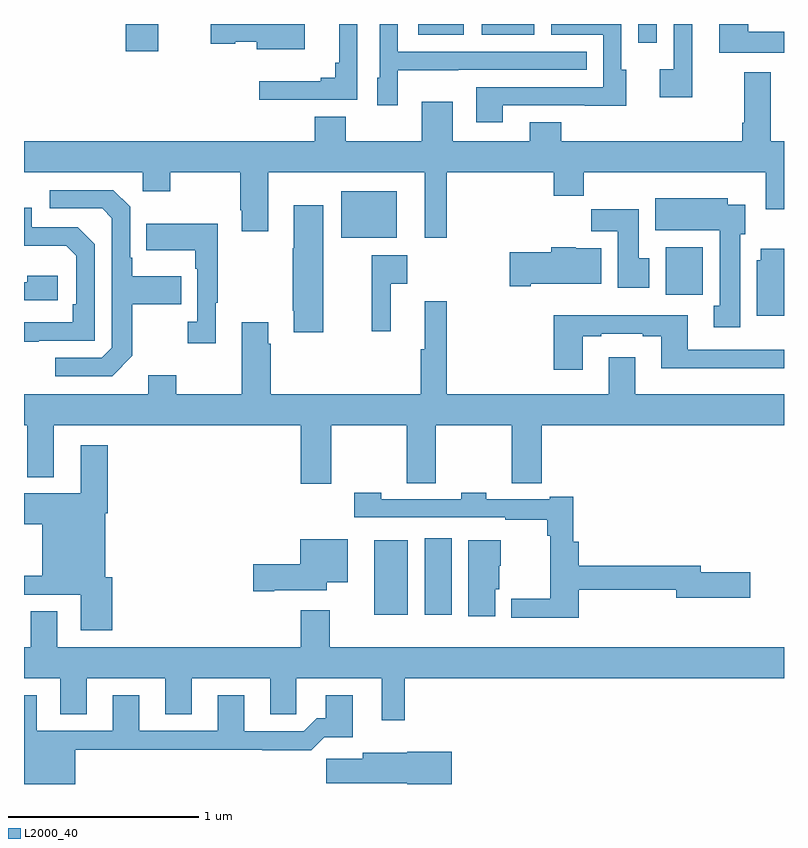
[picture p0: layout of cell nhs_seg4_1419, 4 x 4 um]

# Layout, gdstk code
import gdstk
lib = gdstk.Library(unit=1e-6, precision=1e-09)
def R(c, l, rs):  # rectangles x0, y0, x1, y1
    for r in rs: c.add(gdstk.rectangle(r[:2], r[2:], *l))
def P(c, l, *ps):  # polygons
    for p in ps: c.add(gdstk.Polygon(p, *l))
L2000_40 = (2000, 40)

nhs_seg4_1419 = lib.new_cell('nhs_seg4_1419')
R(nhs_seg4_1419, L2000_40, [(184.844,827.792,185.02,828.184), (185.108,827.792,185.251,828.193), (186.377,829.476,186.573,829.726), (184.67,829.775,184.963,830.02), (183.536,830.757,183.706,830.9), (186.234,830.802,186.33,830.9), (185.075,830.843,185.314,830.9), (185.408,830.843,185.686,830.9)])
P(nhs_seg4_1419, L2000_40, [(187,830.86),(186.811,830.86),(186.811,830.9),(186.659,830.9),(186.659,830.75),(187,830.75)],
  [(184.755,830.9),(184.658,830.9),(184.658,830.695),(184.639,830.695),(184.639,830.618),(184.562,830.618),(184.562,830.599),(184.239,830.599),(184.239,830.502),(184.755,830.502)],
  [(185.521,830.472),(185.951,830.472),(185.951,830.471),(186.169,830.471),(186.169,830.658),(186.144,830.658),(186.144,830.9),(185.775,830.9),(185.775,830.844),(186.048,830.844),(186.048,830.568),(185.381,830.568),(185.381,830.382),(185.521,830.382)],
  [(184.968,830.657),(185.285,830.657),(185.285,830.658),(185.963,830.658),(185.963,830.754),(184.968,830.754),(184.968,830.9),(184.872,830.9),(184.872,830.616),(184.859,830.616),(184.859,830.472),(184.968,830.472)],
  [(184.477,830.9),(183.984,830.9),(183.984,830.795),(184.113,830.795),(184.113,830.807),(184.226,830.807),(184.226,830.768),(184.477,830.768)],
  [(186.517,830.9),(186.42,830.9),(186.42,830.662),(186.345,830.662),(186.345,830.514),(186.517,830.514)],
  [(185.225,830.12),(185.789,830.12),(185.789,829.996),(185.945,829.996),(185.945,830.12),(186.905,830.12),(186.905,829.926),(187,829.926),(187,830.284),(186.931,830.284),(186.931,830.647),(186.791,830.647),(186.791,830.38),(186.779,830.38),(186.779,830.284),(185.827,830.284),(185.827,830.383),(185.663,830.383),(185.663,830.284),(185.257,830.284),(185.257,830.491),(185.093,830.491),(185.093,830.284),(184.693,830.284),(184.693,830.413),(184.529,830.413),(184.529,830.284),(183,830.284),(183,830.12),(183.624,830.12),(183.624,830.021),(183.771,830.021),(183.771,830.12),(184.138,830.12),(184.138,829.921),(184.145,829.921),(184.145,829.809),(184.285,829.809),(184.285,830.12),(185.108,830.12),(185.108,829.776),(185.225,829.776)],
  [(183.571,829.153),(183.571,829.426),(183.827,829.426),(183.827,829.573),(183.571,829.573),(183.571,829.669),(183.558,829.669),(183.558,829.938),(183.471,830.025),(183.135,830.025),(183.135,829.929),(183.411,829.929),(183.462,829.878),(183.462,829.197),(183.408,829.143),(183.165,829.143),(183.165,829.047),(183.465,829.047)],
  [(186.769,829.794),(186.796,829.794),(186.796,829.948),(186.703,829.948),(186.703,829.984),(186.323,829.984),(186.323,829.814),(186.662,829.814),(186.662,829.417),(186.629,829.417),(186.629,829.305),(186.769,829.305)],
  [(184.576,829.945),(184.421,829.945),(184.421,829.721),(184.414,829.721),(184.414,829.39),(184.421,829.39),(184.421,829.278),(184.576,829.278)],
  [(183.077,829.233),(183.372,829.233),(183.372,829.74),(183.282,829.83),(183.042,829.83),(183.042,829.932),(183,829.932),(183,829.733),(183.223,829.733),(183.276,829.68),(183.276,829.426),(183.256,829.426),(183.256,829.329),(183,829.329),(183,829.228),(183.077,829.228)],
  [(186.292,829.668),(186.235,829.668),(186.235,829.926),(185.986,829.926),(185.986,829.808),(186.125,829.808),(186.125,829.512),(186.292,829.512)],
  [(184.009,829.433),(184.021,829.433),(184.021,829.849),(183.643,829.849),(183.643,829.709),(183.9,829.709),(183.9,829.613),(183.912,829.613),(183.912,829.334),(183.861,829.334),(183.861,829.221),(184.009,829.221)],
  [(185.668,829.532),(186.037,829.532),(186.037,829.72),(185.904,829.72),(185.904,829.726),(185.774,829.726),(185.774,829.698),(185.556,829.698),(185.556,829.52),(185.668,829.52)],
  [(187,829.717),(186.878,829.717),(186.878,829.656),(186.857,829.656),(186.857,829.364),(187,829.364)],
  [(184.931,829.532),(185.017,829.532),(185.017,829.684),(184.831,829.684),(184.831,829.284),(184.931,829.284)],
  [(183.178,829.576),(183.017,829.576),(183.017,829.542),(183,829.542),(183,829.446),(183.178,829.446)],
  [(184.617,828.788),(185.014,828.788),(185.014,828.484),(185.168,828.484),(185.168,828.788),(185.566,828.788),(185.566,828.484),(185.726,828.484),(185.726,828.788),(187,828.788),(187,828.952),(186.217,828.952),(186.217,829.147),(186.077,829.147),(186.077,828.952),(185.225,828.952),(185.225,829.441),(185.108,829.441),(185.108,829.188),(185.089,829.188),(185.089,828.952),(184.298,828.952),(184.298,829.217),(184.285,829.217),(184.285,829.33),(184.145,829.33),(184.145,828.952),(183.801,828.952),(183.801,829.051),(183.653,829.051),(183.653,828.952),(183,828.952),(183,828.788),(183.017,828.788),(183.017,828.515),(183.157,828.515),(183.157,828.788),(184.457,828.788),(184.457,828.48),(184.617,828.48)],
  [(185.941,829.257),(186.037,829.257),(186.037,829.269),(186.257,829.269),(186.257,829.257),(186.353,829.257),(186.353,829.088),(187,829.088),(187,829.185),(186.493,829.185),(186.493,829.366),(185.789,829.366),(185.789,829.08),(185.941,829.08)],
  [(183.464,827.988),(183.427,827.988),(183.427,828.326),(183.44,828.326),(183.44,828.682),(183.299,828.682),(183.299,828.43),(183,828.43),(183,828.266),(183.095,828.266),(183.095,827.996),(183,827.996),(183,827.895),(183.299,827.895),(183.299,827.709),(183.464,827.709)],
  [(185.921,827.922),(186.434,827.922),(186.434,827.879),(186.823,827.879),(186.823,828.014),(186.562,828.014),(186.562,828.05),(185.921,828.05),(185.921,828.175),(185.891,828.175),(185.891,828.412),(185.768,828.412),(185.768,828.399),(185.433,828.399),(185.433,828.432),(185.301,828.432),(185.301,828.399),(184.881,828.399),(184.881,828.432),(184.737,828.432),(184.737,828.303),(185.533,828.303),(185.533,828.291),(185.755,828.291),(185.755,828.206),(185.77,828.206),(185.77,827.876),(185.565,827.876),(185.565,827.774),(185.921,827.774)],
  [(184.318,827.921),(184.594,827.921),(184.594,827.963),(184.705,827.963),(184.705,828.187),(184.454,828.187),(184.454,828.056),(184.206,828.056),(184.206,827.914),(184.318,827.914)],
  [(185.479,827.925),(185.5,827.925),(185.5,828.048),(185.509,828.048),(185.509,828.184),(185.339,828.184),(185.339,827.784),(185.479,827.784)],
  [(185.005,827.456),(187,827.456),(187,827.62),(184.609,827.62),(184.609,827.815),(184.457,827.815),(184.457,827.62),(183.175,827.62),(183.175,827.81),(183.035,827.81),(183.035,827.62),(183,827.62),(183,827.456),(183.191,827.456),(183.191,827.266),(183.331,827.266),(183.331,827.456),(183.743,827.456),(183.743,827.266),(183.883,827.266),(183.883,827.456),(184.295,827.456),(184.295,827.266),(184.434,827.266),(184.434,827.456),(184.883,827.456),(184.883,827.235),(185.005,827.235)],
  [(183.271,827.08),(184.255,827.08),(184.255,827.078),(184.511,827.078),(184.58,827.147),(184.729,827.147),(184.729,827.368),(184.589,827.368),(184.589,827.245),(184.54,827.245),(184.473,827.178),(184.159,827.178),(184.159,827.368),(184.019,827.368),(184.019,827.181),(183.607,827.181),(183.607,827.368),(183.467,827.368),(183.467,827.181),(183.067,827.181),(183.067,827.368),(183,827.368),(183,826.9),(183.271,826.9)],
  [(185.251,827.07),(185.016,827.07),(185.016,827.065),(184.784,827.065),(184.784,827.033),(184.59,827.033),(184.59,826.904),(185.016,826.904),(185.016,826.9),(185.251,826.9)])

lib.write_gds('nhs_seg4_1419.gds')
